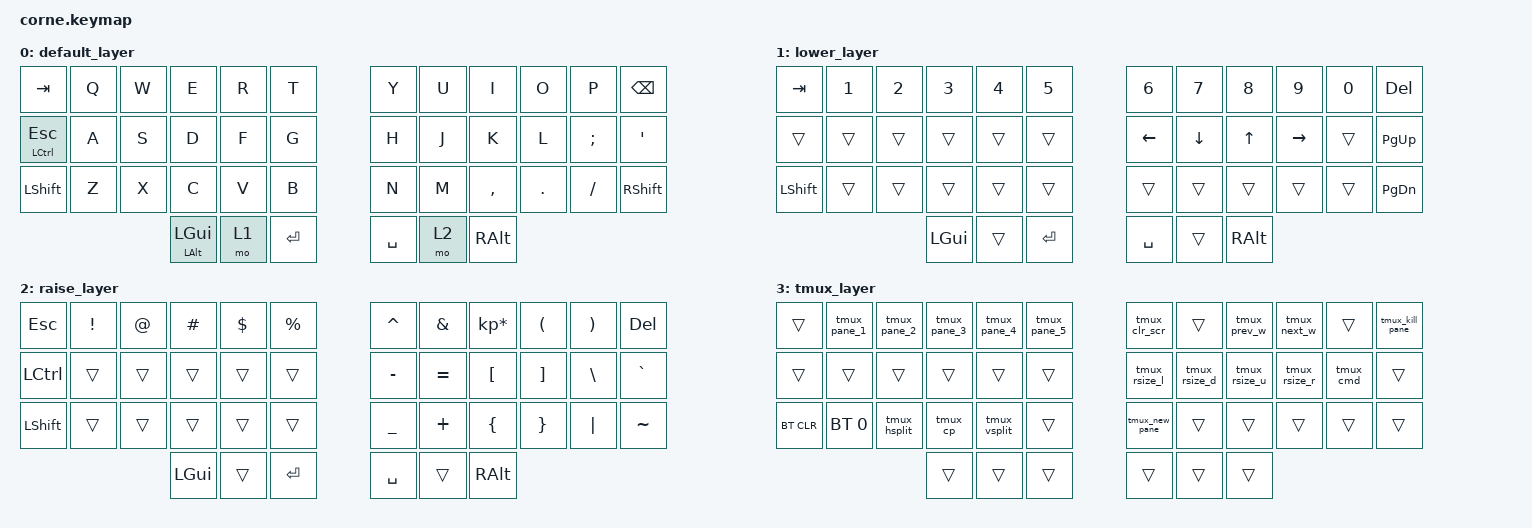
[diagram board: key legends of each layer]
/*
 * Copyright (c) 2020 The ZMK Contributors
 *
 * SPDX-License-Identifier: MIT
 */

#include <behaviors.dtsi>
#include <dt-bindings/zmk/keys.h>
#include <dt-bindings/zmk/bt.h>

/ {
        keymap {
                compatible = "zmk,keymap";

                default_layer {
                        bindings = <
   &kp TAB       &kp Q &kp W &kp E         &kp R &kp T        &kp Y     &kp U &kp I     &kp O   &kp P    &kp BSPC
   &mt LCTRL ESC &kp A &kp S &kp D         &kp F &kp G        &kp H     &kp J &kp K     &kp L   &kp SEMI &kp SQT
   &kp LSHFT     &kp Z &kp X &kp C         &kp V &kp B        &kp N     &kp M &kp COMMA &kp DOT &kp FSLH &kp RSHIFT
                             &mt LALT LGUI &mo 1 &kp RET      &kp SPACE &mo 2 &kp RALT
                        >;
                };
                lower_layer {
                        bindings = <
   &kp TAB   &kp N1 &kp N2 &kp N3   &kp N4 &kp N5       &kp N6    &kp N7   &kp N8    &kp N9    &kp N0 &kp DEL
   &trans    &trans &trans &trans   &trans &trans       &kp LEFT  &kp DOWN &kp UP    &kp RIGHT &trans &kp PG_UP
   &kp LSHFT &trans &trans &trans   &trans &trans       &trans    &trans   &trans    &trans    &trans &kp PG_DN
                           &kp LGUI &trans &kp RET      &kp SPACE &trans   &kp RALT
                        >;
                };

                raise_layer {
                        bindings = <
   &kp  ESC  &kp EXCL &kp AT &kp HASH &kp DLLR &kp PRCNT   &kp CARET &kp AMPS  &kp KP_MULTIPLY &kp LPAR &kp RPAR &kp DEL
   &kp LCTRL &trans   &trans &trans   &trans   &trans      &kp MINUS &kp EQUAL &kp LBKT        &kp RBKT &kp BSLH &kp GRAVE
   &kp LSHFT &trans   &trans &trans   &trans   &trans      &kp UNDER &kp PLUS  &kp LBRC        &kp RBRC &kp PIPE &kp TILDE
                             &kp LGUI &trans   &kp RET     &kp SPACE &trans    &kp RALT
                        >;
                };

                tmux_layer {
                        bindings = <
   &trans     &tmux_pane_1 &tmux_pane_2 &tmux_pane_3 &tmux_pane_4 &tmux_pane_5     &tmux_clr_scr	 &trans        &tmux_prev_w  &tmux_next_w  &trans 	 &tmux_kill_pane
   &trans     &trans       &trans       &trans       &trans       &trans           &tmux_rsize_l 	 &tmux_rsize_d &tmux_rsize_u &tmux_rsize_r &tmux_cmd &trans
   &bt BT_CLR &bt BT_SEL 0 &tmux_hsplit &tmux_cp     &tmux_vsplit &trans           &tmux_new_pane  &trans        &trans        &trans 			 &trans    &trans
                                        &trans       &trans       &trans           &trans 				 &trans        &trans
                        >;
                };
        };

				macros {
								tmux_pane_1: tmux_pane_1 {
												compatible = "zmk,behavior-macro";
            						#binding-cells = <0>;
												bindings	= <&macro_press &kp LCTRL>
																  , <&macro_tap &kp B>
																  , <&macro_release &kp LCTRL>
																  , <&macro_tap &kp N1>
																  ;
								};

								tmux_pane_2: tmux_pane_2 {
												compatible = "zmk,behavior-macro";
            						#binding-cells = <0>;
												bindings	= <&macro_press &kp LCTRL>
																  , <&macro_tap &kp B>
																  , <&macro_release &kp LCTRL>
																  , <&macro_tap &kp N2>
																  ;
								};

								tmux_pane_3: tmux_pane_3 {
												compatible = "zmk,behavior-macro";
            						#binding-cells = <0>;
												bindings	= <&macro_press &kp LCTRL>
																  , <&macro_tap &kp B>
																  , <&macro_release &kp LCTRL>
																  , <&macro_tap &kp N3>
																  ;
								};

								tmux_pane_4: tmux_pane_4 {
												compatible = "zmk,behavior-macro";
            						#binding-cells = <0>;
												bindings	= <&macro_press &kp LCTRL>
																  , <&macro_tap &kp B>
																  , <&macro_release &kp LCTRL>
																  , <&macro_tap &kp N4>
																  ;
								};

								tmux_pane_5: tmux_pane_5 {
												compatible = "zmk,behavior-macro";
            						#binding-cells = <0>;
												bindings	= <&macro_press &kp LCTRL>
																  , <&macro_tap &kp B>
																  , <&macro_release &kp LCTRL>
																  , <&macro_tap &kp N5>
																  ;
								};

								tmux_cp: tmux_cp {
												compatible = "zmk,behavior-macro";
            						#binding-cells = <0>;
												bindings
																= <&macro_press &kp LCTRL>
																, <&macro_tap &kp B>
																, <&macro_release &kp LCTRL>
																, <&macro_tap &kp C>
																;
								};

								tmux_vsplit: tmux_vsplit {
												compatible = "zmk,behavior-macro";
            						#binding-cells = <0>;
												bindings
																= <&macro_press &kp LCTRL>
																, <&macro_tap &kp B>
																, <&macro_release &kp LCTRL>
																, <&macro_tap &kp V>
																;
								};

								tmux_hsplit: tmux_hsplit {
												compatible = "zmk,behavior-macro";
            						#binding-cells = <0>;
												bindings
																= <&macro_press &kp LCTRL>
																, <&macro_tap &kp B>
																, <&macro_release &kp LCTRL>
																, <&macro_tap &kp X>
																;
								};

								tmux_new_pane: tmux_new_pane {
												compatible = "zmk,behavior-macro";
            						#binding-cells = <0>;
												bindings
																= <&macro_press &kp LCTRL>
																, <&macro_tap &kp B>
																, <&macro_release &kp LCTRL>
																, <&macro_tap &kp N>
																;
								};

								tmux_kill_pane: tmux_kill_pane {
												compatible = "zmk,behavior-macro";
            						#binding-cells = <0>;
												bindings
																= <&macro_press &kp LCTRL>
																, <&macro_tap &kp B>
																, <&macro_release &kp LCTRL>
																, <&macro_tap &kp Q>
																;
								};

								tmux_cmd: tmux_cmd {
												compatible = "zmk,behavior-macro";
            						#binding-cells = <0>;
												bindings
																= <&macro_press &kp LCTRL>
																, <&macro_tap &kp B>
																, <&macro_release &kp LCTRL>
																, <&macro_press &kp LSHFT>
																, <&macro_tap &kp SEMI>
																, <&macro_release &kp LSHFT>
																;
								};

								tmux_clr_scr: tmux_clr_scr {
												compatible = "zmk,behavior-macro";
            						#binding-cells = <0>;
												bindings
																= <&macro_press &kp LCTRL>
																, <&macro_tap &kp B>
																, <&macro_tap &kp L>
																, <&macro_release &kp LCTRL>
																;
								};

								tmux_prev_w: tmux_prev_w {
												compatible = "zmk,behavior-macro";
            						#binding-cells = <0>;
												bindings
																= <&macro_press &kp LCTRL>
																, <&macro_tap &kp B>
																, <&macro_tap &kp P>
																, <&macro_release &kp LCTRL>
																;
								};

								tmux_next_w: tmux_next_w {
												compatible = "zmk,behavior-macro";
            						#binding-cells = <0>;
												bindings
																= <&macro_press &kp LCTRL>
																, <&macro_tap &kp B>
																, <&macro_tap &kp N>
																, <&macro_release &kp LCTRL>
																;
								};

								tmux_rsize_l: tmux_rsize_l {
												compatible = "zmk,behavior-macro";
            						#binding-cells = <0>;
												bindings
																= <&macro_press &kp LCTRL>
																, <&macro_tap &kp B>
																, <&macro_release &kp LCTRL>
																, <&macro_press &kp LALT>
																, <&macro_tap &kp LEFT>
																, <&macro_release &kp LALT>
																;
								};

								tmux_rsize_r: tmux_rsize_r {
												compatible = "zmk,behavior-macro";
            						#binding-cells = <0>;
												bindings
																= <&macro_press &kp LCTRL>
																, <&macro_tap &kp B>
																, <&macro_release &kp LCTRL>
																, <&macro_press &kp LALT>
																, <&macro_tap &kp RIGHT>
																, <&macro_release &kp LALT>
																;
								};

								tmux_rsize_u: tmux_rsize_u {
												compatible = "zmk,behavior-macro";
            						#binding-cells = <0>;
												bindings
																= <&macro_press &kp LCTRL>
																, <&macro_tap &kp B>
																, <&macro_release &kp LCTRL>
																, <&macro_press &kp LALT>
																, <&macro_tap &kp UP>
																, <&macro_release &kp LALT>
																;
								};

								tmux_rsize_d: tmux_rsize_d {
												compatible = "zmk,behavior-macro";
            						#binding-cells = <0>;
												bindings
																= <&macro_press &kp LCTRL>
																, <&macro_tap &kp B>
																, <&macro_release &kp LCTRL>
																, <&macro_press &kp LALT>
																, <&macro_tap &kp DOWN>
																, <&macro_release &kp LALT>
																;
								};
				};

				conditional_layers {
								compatible = "zmk,conditional-layers";
								tmux_layer {
												if-layers = <1 2>;
												then-layer = <3>;
								};
				};
};
